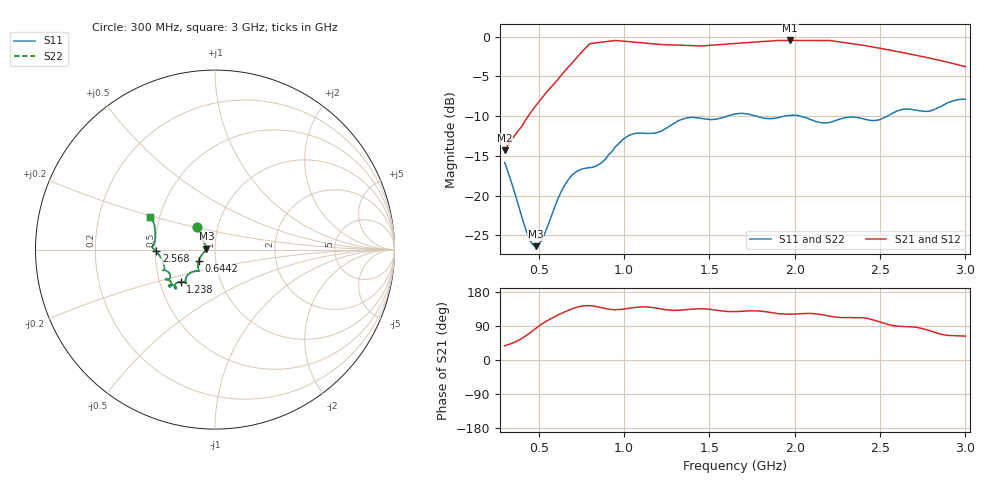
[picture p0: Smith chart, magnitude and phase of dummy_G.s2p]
! S1P to S2P converted from file: C:\GitWork\Spar\Data\dummy.s1p
! Using gain file: C:\GitWork\Spar\Data\Gain.s1p
! Spar Program version 0.4
# HZ S MA R 50
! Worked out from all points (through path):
!   401 points, 300 MHz to 3 GHz, reference 50 ohm
!   highest |S21| = -0.47 dB at 1.974 GHz (marker M1); lowest = -14.3 dB at 300 MHz (marker M2)
!   lowest |S11| = -26.4 dB at 482.2 MHz (marker M3), VSWR 1.10, Z = 45.4 + j0.495 ohm
!   |S11| at or under -10 dB: start of sweep to 1.604 GHz; 1.774 GHz to 1.94 GHz (166 MHz wide, 8.94 % of centre); 2.033 GHz to 2.543 GHz (509.7 MHz wide, 22.3 % of centre)
!   |S22| runs from -26.4 to -7.9 dB; largest |S21 - S12| = 0
!   S11 on the Smith chart (normalised r, x): 300 MHz: 0.80, +0.21; 644.2 MHz: 0.83, -0.11; 1.238 GHz: 0.64, -0.25; 2.568 GHz: 0.51, -0.01; 3 GHz: 0.44, +0.19
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3e8  0.1618 127.7  0.1923 37.7  0.1923 37.7  0.1618 127.7
4.35e8  0.0565 157.0  0.3124 67.0  0.3124 67.0  0.0565 157.0
4.8225e8  0.04798 173.5  0.3674 83.5  0.3674 83.5  0.04798 173.5
6.4425e8  0.1122 -144.5  0.5939 125.5  0.5939 125.5  0.1122 -144.5
7.5225e8  0.1466 -127.9  0.8022 142.1  0.8022 142.1  0.1466 -127.9
8.13e8  0.1505 -127.1  0.9083 142.9  0.9083 142.9  0.1505 -127.1
9.4125e8  0.197 -137.0  0.9447 133.0  0.9447 133.0  0.197 -137.0
1.11e9  0.2471 -129.8  0.9133 140.2  0.9133 140.2  0.2471 -129.8
1.2045e9  0.2511 -134.4  0.8938 135.6  0.8938 135.6  0.2511 -134.4
1.23825e9  0.262 -136.9  0.8911 133.1  0.8911 133.1  0.262 -136.9
1.461e9  0.3047 -134.9  0.8757 135.1  0.8757 135.1  0.3047 -134.9
1.65e9  0.3261 -142.3  0.9068 127.7  0.9068 127.7  0.3261 -142.3
1.785e9  0.3137 -140.5  0.9287 129.5  0.9287 129.5  0.3137 -140.5
1.974e9  0.3197 -149.2  0.9472 120.8  0.9472 120.8  0.3197 -149.2
2.10225e9  0.2982 -147.4  0.9472 122.6  0.9472 122.6  0.2982 -147.4
2.2575e9  0.3012 -157.6  0.929 112.4  0.929 112.4  0.3012 -157.6
2.41275e9  0.3018 -159.2  0.8791 110.8  0.8791 110.8  0.3018 -159.2
2.5545e9  0.3216 -177.0  0.8243 93.0  0.8243 93.0  0.3216 -177.0
2.568e9  0.3274 -178.3  0.8191 91.7  0.8191 91.7  0.3274 -178.3
2.7165e9  0.3438 175.8  0.7618 85.8  0.7618 85.8  0.3438 175.8
2.87175e9  0.3712 156.7  0.7012 66.7  0.7012 66.7  0.3712 156.7
3e9  0.4036 153.1  0.6478 63.1  0.6478 63.1  0.4036 153.1
